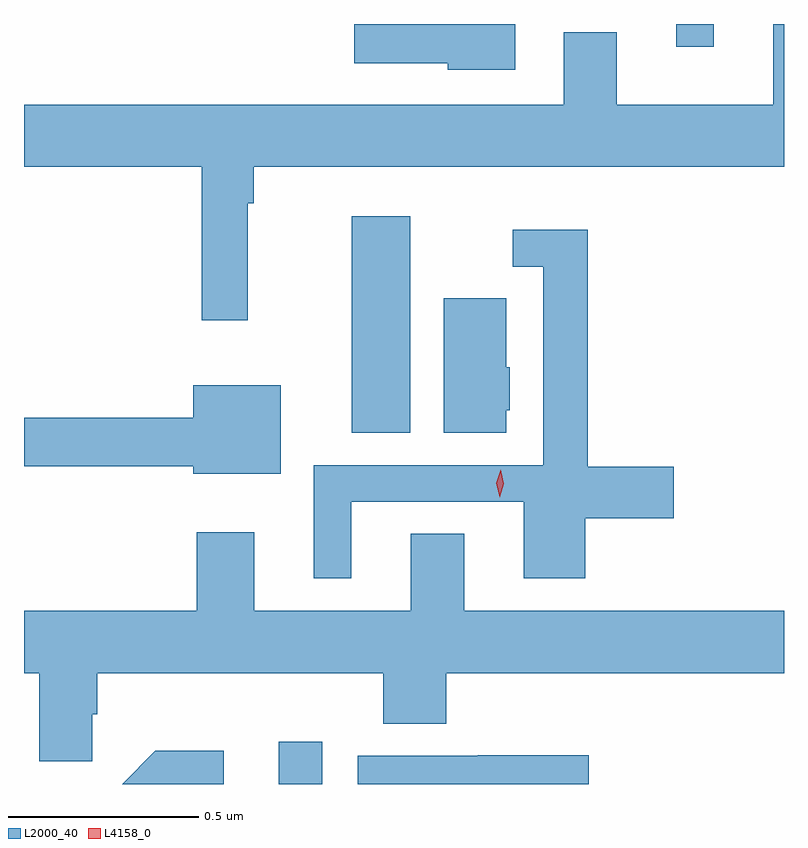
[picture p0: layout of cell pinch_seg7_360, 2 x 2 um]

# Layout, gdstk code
import gdstk
lib = gdstk.Library(unit=1e-6, precision=1e-09)
def R(c, l, rs):  # rectangles x0, y0, x1, y1
    for r in rs: c.add(gdstk.rectangle(r[:2], r[2:], *l))
def P(c, l, *ps):  # polygons
    for p in ps: c.add(gdstk.Polygon(p, *l))
L2000_40 = (2000, 40)
L4158_0 = (4158, 0)

pinch_seg7_360 = lib.new_cell('pinch_seg7_360')
R(pinch_seg7_360, L2000_40, [(450.407,1005.652,450.522,1005.763), (450.599,1006.576,450.754,1007.146), (451.454,1007.592,451.552,1007.652)])
P(pinch_seg7_360, L2000_40, [(450.326,1007.18),(450.341,1007.18),(450.341,1007.276),(451.737,1007.276),(451.737,1007.652),(451.709,1007.652),(451.709,1007.44),(451.297,1007.44),(451.297,1007.63),(451.157,1007.63),(451.157,1007.44),(449.737,1007.44),(449.737,1007.276),(450.205,1007.276),(450.205,1006.872),(450.326,1006.872)],
  [(451.03,1007.652),(450.606,1007.652),(450.606,1007.549),(450.852,1007.549),(450.852,1007.531),(451.03,1007.531)],
  [(450.598,1006.395),(451.052,1006.395),(451.052,1006.194),(451.214,1006.194),(451.214,1006.352),(451.447,1006.352),(451.447,1006.487),(451.22,1006.487),(451.22,1007.11),(451.023,1007.11),(451.023,1007.013),(451.104,1007.013),(451.104,1006.491),(450.5,1006.491),(450.5,1006.194),(450.598,1006.194)],
  [(451.006,1006.635),(451.015,1006.635),(451.015,1006.749),(451.006,1006.749),(451.006,1006.93),(450.842,1006.93),(450.842,1006.576),(451.006,1006.576)],
  [(450.412,1006.702),(450.182,1006.702),(450.182,1006.616),(449.737,1006.616),(449.737,1006.488),(450.182,1006.488),(450.182,1006.469),(450.412,1006.469)],
  [(449.916,1005.835),(449.93,1005.835),(449.93,1005.944),(450.683,1005.944),(450.683,1005.811),(450.848,1005.811),(450.848,1005.944),(451.737,1005.944),(451.737,1006.108),(450.895,1006.108),(450.895,1006.31),(450.755,1006.31),(450.755,1006.108),(450.343,1006.108),(450.343,1006.315),(450.191,1006.315),(450.191,1006.108),(449.737,1006.108),(449.737,1005.944),(449.777,1005.944),(449.777,1005.712),(449.916,1005.712)],
  [(450.262,1005.74),(450.083,1005.74),(449.995,1005.652),(450.262,1005.652)],
  [(451.223,1005.728),(450.931,1005.728),(450.931,1005.726),(450.615,1005.726),(450.615,1005.652),(451.223,1005.652)])
P(pinch_seg7_360, L4158_0, [(450.989,1006.406),(450.989,1006.407),(450.98,1006.443),(450.992,1006.479),(450.992,1006.479),(450.992,1006.479),(451,1006.442),(450.989,1006.407)])

lib.write_gds('pinch_seg7_360.gds')
